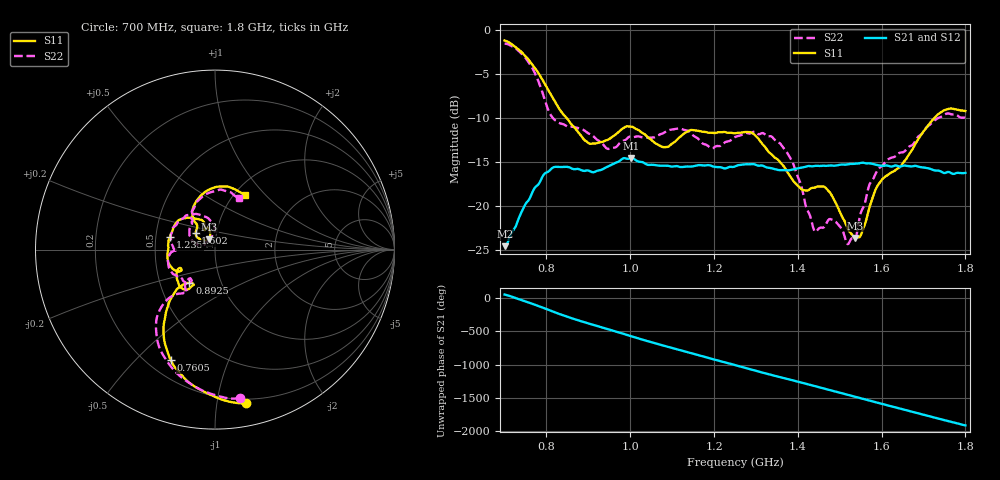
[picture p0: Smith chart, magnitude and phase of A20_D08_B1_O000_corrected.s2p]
! Created with skrf 1.9.0 (http://scikit-rf.org).
# Hz S RI R 50.0
!freq ReS11 ImS11 ReS21 ImS21 ReS12 ImS12 ReS22 ImS22
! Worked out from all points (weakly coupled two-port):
!   1601 points, 700 MHz to 1.8 GHz, reference 50 ohm
!   highest |S21| = -14.57 dB at 1.002 GHz (marker M1); lowest = -24.6 dB at 700.7 MHz (marker M2)
!   lowest |S11| = -23.7 dB at 1.537 GHz (marker M3), VSWR 1.14, Z = 46.7 + j5.43 ohm
!   |S11| at or under -10 dB: 848.3 MHz to 1.726 GHz (877.6 MHz wide, 68.2 % of centre)
!   |S22| runs from -24.4 to -1.5 dB; largest |S21 - S12| = 0.0036
!   S11 on the Smith chart (normalised r, x): 700 MHz: 0.17, -1.21; 760.5 MHz: 0.29, -0.64; 892.5 MHz: 0.70, -0.28; 1.235 GHz: 0.59, +0.09; 1.602 GHz: 0.79, +0.15; 1.8 GHz: 1.11, +0.77
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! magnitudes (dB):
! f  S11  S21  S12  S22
! 700 MHz  -1.2  -24.6  -24.4  -1.5
! 700.7 MHz  -1.2  -24.6  -24.3  -1.5
! 760.5 MHz  -3.6  -19.1  -19.0  -3.9
! 814.8 MHz  -7.7  -15.7  -15.7  -10.0
! 883.6 MHz  -12.1  -16.0  -15.8  -11.2
! 892.5 MHz  -12.6  -16.0  -16.1  -11.5
! 947.5 MHz  -12.5  -15.5  -15.5  -13.5
! 1.002 GHz  -11.0  -14.6  -14.7  -12.1
! 1.067 GHz  -13.1  -15.4  -15.4  -12.0
! 1.235 GHz  -11.7  -15.6  -15.7  -12.6
! 1.25 GHz  -11.7  -15.5  -15.5  -12.2
! 1.292 GHz  -11.7  -15.3  -15.3  -11.6
! 1.36 GHz  -15.2  -15.9  -15.9  -13.0
! 1.39 GHz  -17.2  -15.9  -15.8  -15.3
! 1.434 GHz  -18.0  -15.5  -15.5  -21.9
! 1.472 GHz  -18.3  -15.4  -15.4  -21.7
! 1.537 GHz  -23.7  -15.2  -15.2  -23.8
! 1.571 GHz  -20.2  -15.2  -15.2  -17.6
! 1.602 GHz  -17.0  -15.5  -15.4  -15.4
! 1.617 GHz  -16.4  -15.5  -15.4  -14.7
! 1.735 GHz  -9.6  -16.0  -16.1  -10.0
! 1.8 GHz  -9.2  -16.3  -16.3  -10.0
